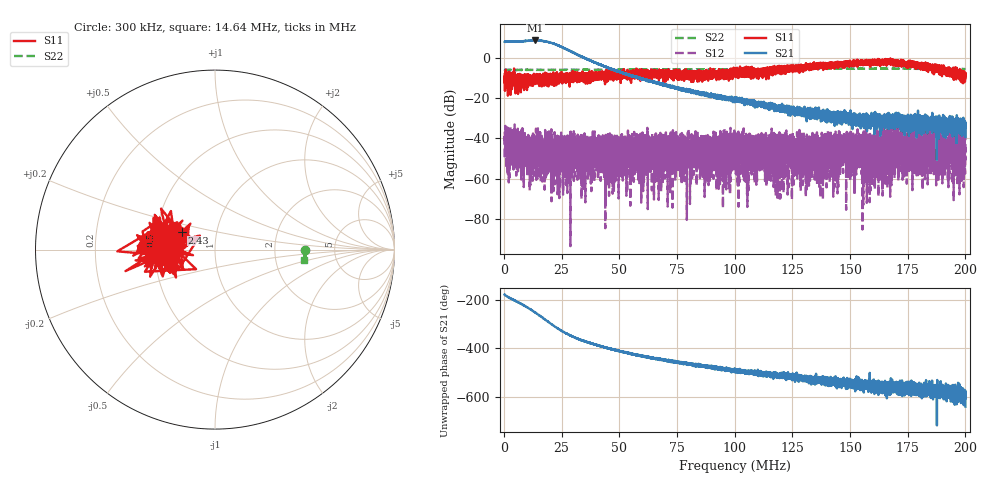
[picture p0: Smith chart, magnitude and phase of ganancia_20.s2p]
# Hz S DB R 50
! CMT, M5065, 19127446, 24.2.4/2
! Date: 10/29/2024 1:13:17 PM
! Data: Format (Calibration Info)
! Freq	S11:dB/Ang(F2)	S21:dB/Ang(F2)	S12:dB/Ang(F2)	S22:dB/Ang(F2)
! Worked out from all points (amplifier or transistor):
!   9000 points, 300 kHz to 200 MHz, reference 50 ohm
!   highest |S21| = 8.7 dB at 13.57 MHz (marker M1)
!   |S21| within 3 dB of that: start of sweep to 24.48 MHz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
!   unconditionally stable (mu >= 1): start of sweep to end of sweep
!   at 33.59 MHz: K = 51.72, MAG = 2.6 dB, |S12| = -44.9 dB
!   at 100.2 MHz: K = 1626.77, MAG = -19.2 dB, |S12| = -53.5 dB
!   at 200 MHz: K = 2236.22, MAG = -37.1 dB, |S12| = -38.1 dB
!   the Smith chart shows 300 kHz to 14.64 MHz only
!   S11 on the Smith chart (normalised r, x): 300 kHz: 0.58, -0.11; 2.43 MHz: 0.68, +0.14; 14.64 MHz: 0.56, -0.01
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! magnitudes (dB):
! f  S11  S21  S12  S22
! 300 kHz  -11.2  8.0  -49.4  -6.0
! 2.43 MHz  -13.7  8.1  -47.4  -6.0
! 13.57 MHz  -10.9  8.7  -45.7  -6.0
! 14.64 MHz  -11.0  8.6  -49.3  -6.0
! 33.59 MHz  -8.2  0.7  -44.9  -6.0
! 66.87 MHz  -6.9  -13.0  -40.2  -5.7
! 80.28 MHz  -8.7  -16.3  -43.1  -5.7
! 82.21 MHz  -6.8  -17.2  -45.7  -5.7
! 97.34 MHz  -7.1  -21.1  -41.2  -5.7
! 100.2 MHz  -6.6  -21.6  -53.5  -5.7
! 103.1 MHz  -6.0  -21.5  -45.4  -5.7
! 105.1 MHz  -6.6  -22.0  -38.6  -5.7
! 116.6 MHz  -6.1  -23.9  -43.5  -5.6
! 119.2 MHz  -5.8  -23.8  -46.7  -5.6
! 133.4 MHz  -5.2  -26.8  -52.2  -5.4
! 137 MHz  -4.3  -28.0  -46.4  -5.4
! 139.8 MHz  -3.7  -28.9  -52.4  -5.4
! 166.7 MHz  -2.7  -35.5  -50.1  -5.4
! 182.5 MHz  -3.3  -33.1  -37.6  -5.5
! 190.6 MHz  -6.8  -31.2  -43.2  -5.5
! 199 MHz  -8.5  -34.1  -46.1  -5.5
! 200 MHz  -7.8  -39.3  -38.1  -5.5
